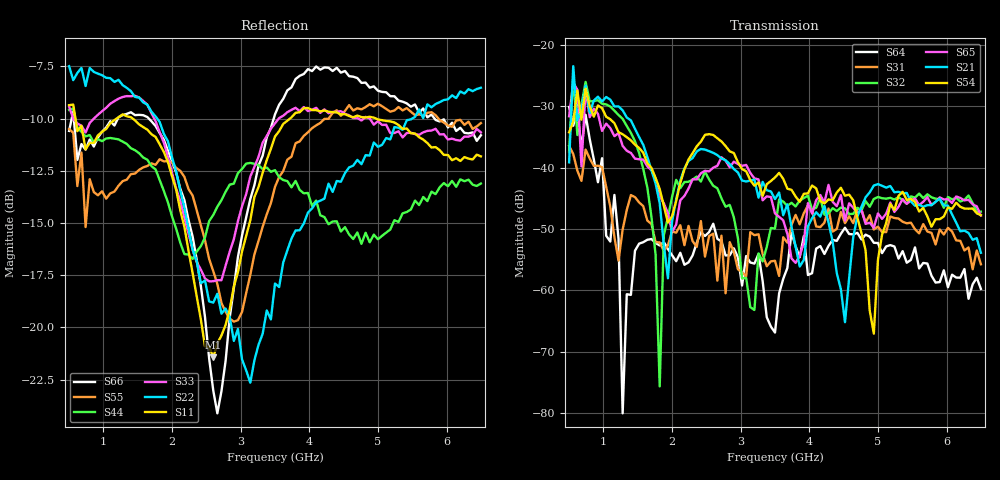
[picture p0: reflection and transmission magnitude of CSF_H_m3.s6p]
!Keysight Technologies,M9804A,MY58100912,A.14.10.03
!Date: Thursday, April 27, 2023 10:28:33
!Correction: S11(C  6-Port  )
!S12(C  6-Port  )
!S13(C  6-Port  )
!S14(C  6-Port  )
!S15(C  6-Port  )
!S16(C  6-Port  )
!S21(C  6-Port  )
!S22(C  6-Port  )
!S23(C  6-Port  )
!S24(C  6-Port  )
!S25(C  6-Port  )
!S26(C  6-Port  )
!S31(C  6-Port  )
!S32(C  6-Port  )
!S33(C  6-Port  )
!S34(C  6-Port  )
!S35(C  6-Port  )
!S36(C  6-Port  )
!S41(C  6-Port  )
!S42(C  6-Port  )
!S43(C  6-Port  )
!S44(C  6-Port  )
!S45(C  6-Port  )
!S46(C  6-Port  )
!S51(C  6-Port  )
!S52(C  6-Port  )
!S53(C  6-Port  )
!S54(C  6-Port  )
!S55(C  6-Port  )
!S56(C  6-Port  )
!S61(C  6-Port  )
!S62(C  6-Port  )
!S63(C  6-Port  )
!S64(C  6-Port  )
!S65(C  6-Port  )
!S66(C  6-Port  )
!S6P File: Measurement: :
# Hz S  RI  R 50
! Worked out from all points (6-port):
!   101 points, 500 MHz to 6.5 GHz, reference 50 ohm
!   strongest paths, dB at 500 MHz, 2 GHz, 3.5 GHz, 5 GHz, 6.5 GHz:
!     S54: -34.2, -47.9, -41.6, -55.0, -47.7
!     S21: -39.1, -48.8, -45.1, -42.7, -53.9
!     S65: -31.6, -50.5, -47.5, -47.4, -47.8
!     S32: -37.3, -44.8, -49.9, -44.8, -47.2
!     S31: -36.5, -50.4, -55.2, -49.6, -55.7
!     S64: -30.1, -54.3, -66.9, -52.3, -59.7
!   lowest |S11| = -21.4 dB at 2.6 GHz (marker M1), VSWR 1.19, Z = 42.5 + j2.15 ohm
!   |S11| at or under -10 dB: 591.8 MHz to 1.191 GHz (599 MHz wide, 67.2 % of centre); 1.428 GHz to 3.717 GHz (2.289 GHz wide, 89 % of centre); 4.975 GHz to end of sweep
